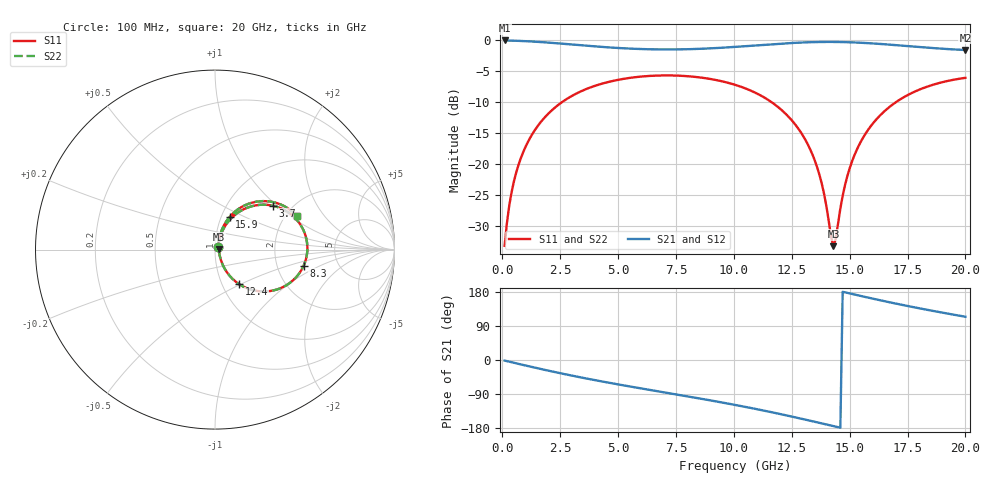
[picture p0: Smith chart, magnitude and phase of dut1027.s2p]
! Touchstone file exported from HFSS 2026.1.0
!  File:  C:/ffzhzh/LocalFiles/Ansys_Project_Files/temp_train_TSV_RDL_1027_1783293335_5512.aedt
!  Generated:  07:25:21 AM Jul  6, 2026
!  Design:  TSV_RDL
!  Project:  temp_train_TSV_RDL_1027_1783293335_5512
! Variables:
!  h_bsmrdl = 2.77um
!  h_ox = 20um
!  h_rdl = 5um
!  h_sub = 91.41um
!  h_tmrdl = 4.64um
!  h_tsv = 91.41um
!  h_via = 3um
!  l_bsmrdl = 157.24um
!  l_sub = 3987.01um
!  l_tmrdl = 749.91um
!  m_sub = 200um
!  pitch = 48.09um
!  r_tsv = 8.76um
!  s_tmrdl = 10um
!  w_bsmrdl = 18.68um
!  w_sub = 500um
!  w_tmrdl = 19.87um
!  x_tsv_center1 = 759.845um
!  x_tsv_center2 = 935.765um
!  x_tsv_center3 = 1705.545um
!  x_tsv_center4 = 1881.465um
!  x_tsv_center5 = 2651.245um
!  x_tsv_center6 = 2827.165um
# GHz S MA R 50.000000
! Terminal data exported
! Port[1] = TM_RDL1_1_T1
! Port[2] = TM_RDL5_1_T1
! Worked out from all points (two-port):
!   200 points, 100 MHz to 20 GHz, reference 50 ohm
!   highest |S21| = -0.14 dB at 100 MHz (marker M1); lowest = -1.7 dB at 20 GHz (marker M2)
!   |S21| within 3 dB of the highest: start of sweep to end of sweep
!   lowest |S11| = -33.2 dB at 14.3 GHz (marker M3), VSWR 1.04, Z = 52.2 + j0.0636 ohm
!   |S11| at or under -10 dB: start of sweep to 2.603 GHz; 11.6 GHz to 17.03 GHz (5.424 GHz wide, 37.9 % of centre)
!   |S22| runs from -33.4 to -5.8 dB; largest |S21 - S12| = 2.5e-14
!   S11 on the Smith chart (normalised r, x): 100 MHz: 1.03, +0.03; 3.7 GHz: 1.61, +0.94; 8.3 GHz: 2.82, -0.69; 12.4 GHz: 1.20, -0.49; 15.9 GHz: 1.10, +0.42; 20 GHz: 2.29, +1.12
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0.1  0.02194 40.7  0.9836 -1.5  0.9836 -1.5  0.02194 40.7
! Gamma 0 0 0 0
! Port Impedance 50 0 50 0
0.3  0.04617 63.2  0.9815 -4.5  0.9815 -4.5  0.04617 63.2
0.5  0.07214 67.9  0.9791 -7.3  0.9791 -7.3  0.07214 67.9
1.1  0.1494 66.4  0.9688 -15.9  0.9688 -15.9  0.1494 66.4
2.1  0.2658 55.7  0.9421 -29.6  0.9421 -29.6  0.2658 55.7
3.5  0.3911 39.4  0.8966 -47.3  0.8966 -47.3  0.3911 39.4
3.7  0.4052 37.1  0.8903 -49.6  0.8903 -49.6  0.4052 37.1
6.8  0.514 4.6  0.833 -83.4  0.833 -83.4  0.514 4.6
8.3  0.5017 -10.4  0.8394 -99.1  0.8394 -99.1  0.5017 -10.5
10.1  0.43 -29.3  0.8743 -119.1  0.8743 -119.1  0.43 -29.3
11.4  0.3346 -43.8  0.9101 -134.8  0.9101 -134.8  0.3346 -43.9
12.4  0.2356 -55.0  0.936 -147.9  0.936 -147.9  0.2356 -55.0
13.4  0.1184 -63.1  0.9534 -161.7  0.9534 -161.7  0.1184 -63.3
13.8  0.06912 -60.8  0.9566 -167.3  0.9566 -167.3  0.06905 -61.1
14.3  0.02181 1.6  0.9571 -174.4  0.9571 -174.4  0.02147 1.5
14.4  0.02493 31.6  0.9567 -175.8  0.9567 -175.8  0.02462 31.9
14.7  0.0554 65.2  0.9546 179.9  0.9546 179.9  0.05524 65.5
15  0.09191 70.5  0.9511 175.7  0.9511 175.7  0.09179 70.7
15.9  0.1997 65.9  0.9335 163.3  0.9335 163.3  0.1996 66.0
16.7  0.2851 57.4  0.9113 152.6  0.9113 152.6  0.285 57.5
18.2  0.4085 40.9  0.8654 134.2  0.8654 134.2  0.4085 40.9
20  0.4924 22.1  0.824 114.1  0.824 114.1  0.4923 22.1
